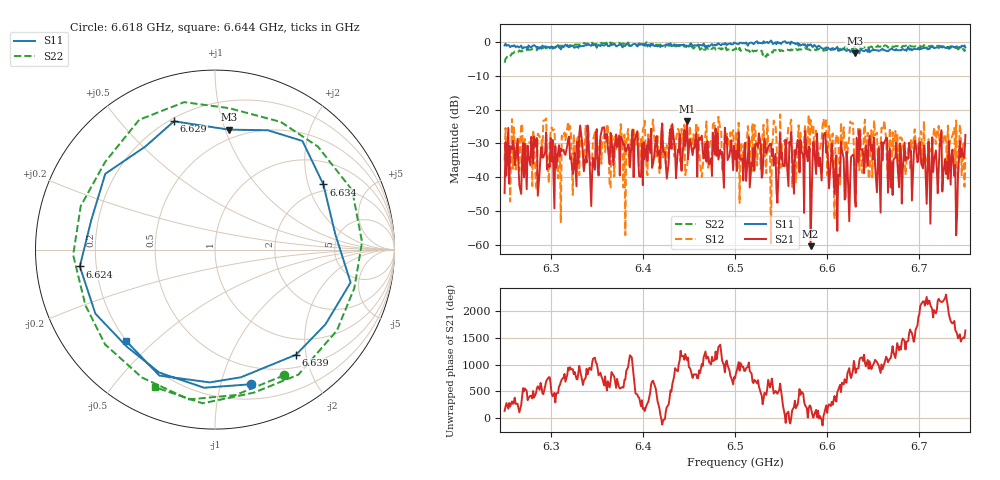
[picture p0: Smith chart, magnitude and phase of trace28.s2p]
# Hz S RI R 50
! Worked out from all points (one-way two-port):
!   401 points, 6.25 GHz to 6.75 GHz, reference 50 ohm
!   highest |S21| = -23.37 dB at 6.448 GHz (marker M1); lowest = -60.3 dB at 6.582 GHz (marker M2)
!   lowest |S11| = -3.4 dB at 6.63 GHz (marker M3), VSWR 5.11, Z = 21.1 + j51.4 ohm
!   |S11| at or under -10 dB: nowhere
!   |S22| runs from -6.2 to -0.1 dB; largest |S21 - S12| = 0.13
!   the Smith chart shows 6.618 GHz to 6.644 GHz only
!   S11 on the Smith chart (normalised r, x): 6.618 GHz: 0.33, -1.25; 6.624 GHz: 0.14, -0.06; 6.629 GHz: 0.22, +0.71; 6.634 GHz: 1.74, +2.51; 6.639 GHz: 0.70, -1.82; 6.644 GHz: 0.20, -0.41
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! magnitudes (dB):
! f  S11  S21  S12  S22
! 6.25 GHz  -1.1  -44.7  -35.1  -6.2
! 6.334 GHz  -1.2  -29.5  -29.2  -0.8
! 6.418 GHz  -1.0  -32.1  -38.7  -0.9
! 6.448 GHz  -1.1  -23.4  -36.7  -1.6
! 6.5 GHz  -0.3  -34.5  -31.4  -2.2
! 6.536 GHz  -0.4  -31.0  -29.7  -3.9
! 6.559 GHz  -0.3  -29.6  -24.5  -2.5
! 6.565 GHz  -0.4  -32.0  -33.5  -2.6
! 6.582 GHz  -0.7  -60.3  -23.0  -2.5
! 6.584 GHz  -1.5  -36.1  -27.3  -2.3
! 6.618 GHz  -2.2  -34.5  -25.3  -1.9
! 6.624 GHz  -2.4  -53.0  -27.9  -2.1
! 6.629 GHz  -2.5  -33.5  -31.1  -1.5
! 6.63 GHz  -3.4  -46.2  -40.9  -1.5
! 6.634 GHz  -3.0  -35.6  -25.1  -1.8
! 6.639 GHz  -2.6  -33.0  -34.5  -1.8
! 6.644 GHz  -3.0  -36.6  -26.8  -1.6
! 6.661 GHz  -2.5  -29.8  -25.9  -1.3
! 6.668 GHz  -2.3  -31.4  -25.4  -1.4
! 6.735 GHz  -1.4  -33.5  -28.3  -1.5
! 6.74 GHz  -1.4  -57.2  -23.3  -1.9
! 6.75 GHz  -1.7  -27.5  -34.1  -2.2
